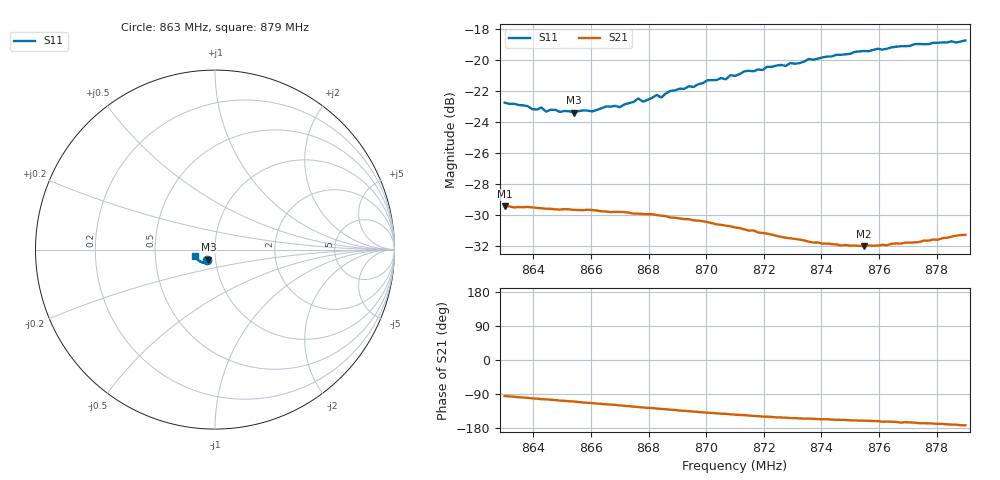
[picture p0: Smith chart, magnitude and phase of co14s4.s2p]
# HZ S RI R 50
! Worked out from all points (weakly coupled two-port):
!   101 points, 863 MHz to 879 MHz, reference 50 ohm
!   highest |S21| = -29.45 dB at 863 MHz (marker M1); lowest = -32.0 dB at 875.48 MHz (marker M2)
!   lowest |S11| = -23.4 dB at 865.4 MHz (marker M3), VSWR 1.14, Z = 46.2 - j5.24 ohm
!   |S11| at or under -10 dB: start of sweep to end of sweep
!   S12 and S22 are empty: the file has one direction only
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8.63e8  -0.0473 -0.0553  -0.00291 -0.0336  0 0  0 0
8.6396e8  -0.0421 -0.0551  -0.00652 -0.0327  0 0  0 0
8.6428e8  -0.0415 -0.0566  -0.00773 -0.0323  0 0  0 0
8.6444e8  -0.0401 -0.0549  -0.00795 -0.0321  0 0  0 0
8.646e8  -0.0402 -0.0561  -0.0084 -0.0319  0 0  0 0
8.654e8  -0.0369 -0.0565  -0.0109 -0.0309  0 0  0 0
8.6572e8  -0.0367 -0.058  -0.0123 -0.0303  0 0  0 0
8.6604e8  -0.0356 -0.0581  -0.0132 -0.03  0 0  0 0
8.6652e8  -0.0359 -0.0609  -0.0146 -0.0289  0 0  0 0
8.67e8  -0.0357 -0.0605  -0.0161 -0.028  0 0  0 0
8.6764e8  -0.0377 -0.0649  -0.0179 -0.0264  0 0  0 0
8.678e8  -0.0362 -0.0637  -0.0183 -0.026  0 0  0 0
8.6828e8  -0.0383 -0.0668  -0.0194 -0.0248  0 0  0 0
8.6844e8  -0.0376 -0.0656  -0.0198 -0.0243  0 0  0 0
8.6876e8  -0.0395 -0.0689  -0.0204 -0.0233  0 0  0 0
8.71e8  -0.0509 -0.0727  -0.0233 -0.0168  0 0  0 0
8.7212e8  -0.0593 -0.0743  -0.0237 -0.0139  0 0  0 0
8.7276e8  -0.0616 -0.0731  -0.0236 -0.0124  0 0  0 0
8.7372e8  -0.0696 -0.0719  -0.0233 -0.0108  0 0  0 0
8.7548e8  -0.0845 -0.0654  -0.0235 -0.00855  0 0  0 0
8.7644e8  -0.0922 -0.0594  -0.0244 -0.00749  0 0  0 0
8.79e8  -0.1091 -0.0379  -0.027 -0.00363  0 0  0 0
